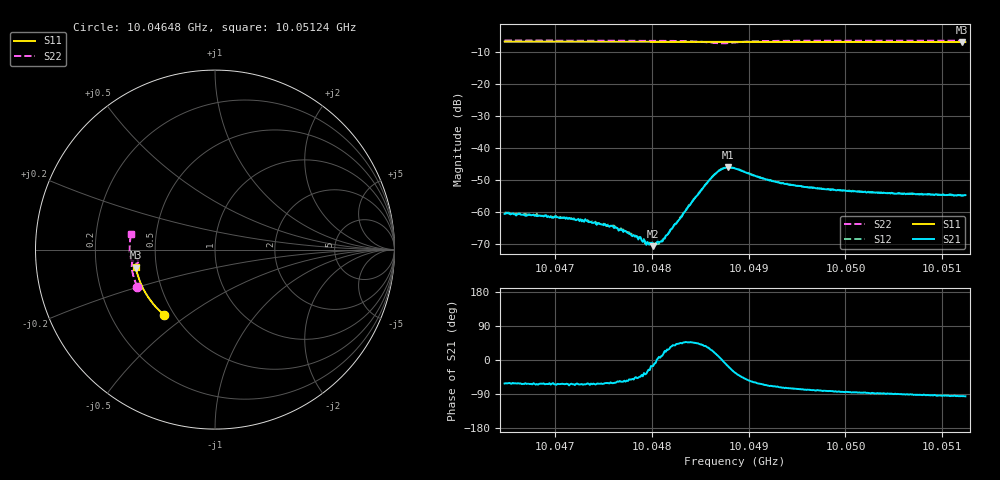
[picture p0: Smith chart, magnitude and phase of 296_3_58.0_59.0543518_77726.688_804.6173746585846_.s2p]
#  HZ  S  RI  R  50.00
! Rohde & Schwarz Vector Network Analyzer
! Rohde-Schwarz,ZNB20-2Port,1311601062101988,3.16
! Created: UTC 3/21/2024, 1:03:36 AM
! freq[Hz]  re:S11  im:S11  re:S21  im:S21  re:S12  im:S12  re:S22  im:S22
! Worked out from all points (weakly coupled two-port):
!   401 points, 10.04648 GHz to 10.05124 GHz, reference 50 ohm
!   highest |S21| = -46.10 dB at 10.04879 GHz (marker M1); lowest = -70.8 dB at 10.04802 GHz (marker M2)
!   lowest |S11| = -6.9 dB at 10.0512 GHz (marker M3), VSWR 2.65, Z = 19 - j4.83 ohm
!   |S11| at or under -10 dB: nowhere
!   |S22| runs from -7.3 to -6.4 dB; largest |S21 - S12| = 0.00036
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1.0046481e10  -0.2849 -0.3625  0.000436 -0.000821  0.000521 -0.000819  -0.4332 -0.2062
1.0046885e10  -0.3049 -0.3448  0.0004 -0.000745  0.000443 -0.00074  -0.4435 -0.1809
1.0047278e10  -0.3232 -0.3264  0.000315 -0.000633  0.000404 -0.000631  -0.4522 -0.1554
1.0047599e10  -0.3376 -0.3107  0.000286 -0.000521  0.000312 -0.000524  -0.4581 -0.1336
1.0047896e10  -0.3501 -0.2955  0.000277 -0.000228  0.00031 -0.000231  -0.4623 -0.1122
1.0047956e10  -0.3525 -0.2924  0.00029 -0.00017  0.000298 -0.000151  -0.4627 -0.1077
1.0048015e10  -0.3548 -0.2894  0.000279 -7.82e-05  0.000316 -5.54e-05  -0.4633 -0.103
1.0048075e10  -0.3572 -0.2861  0.000328 4.76e-05  0.00031 4.96e-05  -0.4637 -0.0984
1.004811e10  -0.3586 -0.2844  0.000337 7.04e-05  0.000337 8.72e-05  -0.4639 -0.0953
1.0048134e10  -0.3597 -0.2831  0.000347 0.000154  0.000364 0.000144  -0.4639 -0.0936
1.0048455e10  -0.3717 -0.2657  0.00121 0.00121  0.00116 0.00127  -0.4576 -0.0637
1.0048622e10  -0.3777 -0.2565  0.00314 0.0015  0.00307 0.00166  -0.4397 -0.0531
1.0048705e10  -0.3803 -0.2518  0.00447 0.000431  0.00449 0.000689  -0.4291 -0.0597
1.0048788e10  -0.3831 -0.2475  0.00475 -0.0014  0.00486 -0.00113  -0.4298 -0.0727
1.004886e10  -0.3856 -0.2436  0.00398 -0.00262  0.00414 -0.00238  -0.439 -0.0785
1.0049074e10  -0.3929 -0.2315  0.00183 -0.0031  0.00203 -0.00303  -0.4619 -0.0663
1.0049264e10  -0.3988 -0.2204  0.00105 -0.00279  0.00121 -0.00273  -0.4697 -0.0497
1.0049656e10  -0.4102 -0.1971  0.00043 -0.00234  0.000573 -0.00233  -0.4749 -0.0187
1.0050037e10  -0.4199 -0.174  0.000191 -0.00209  0.000304 -0.00213  -0.4757 0.00859
1.0050453e10  -0.4288 -0.1484  3.36e-05 -0.00197  0.000166 -0.00197  -0.4741 0.0373
1.0051203e10  -0.4414 -0.1009  -0.000163 -0.00178  -8.65e-05 -0.00181  -0.4673 0.0872
1.0051238e10  -0.442 -0.0986  -0.000182 -0.00181  -9.24e-05 -0.00182  -0.467 0.0894
